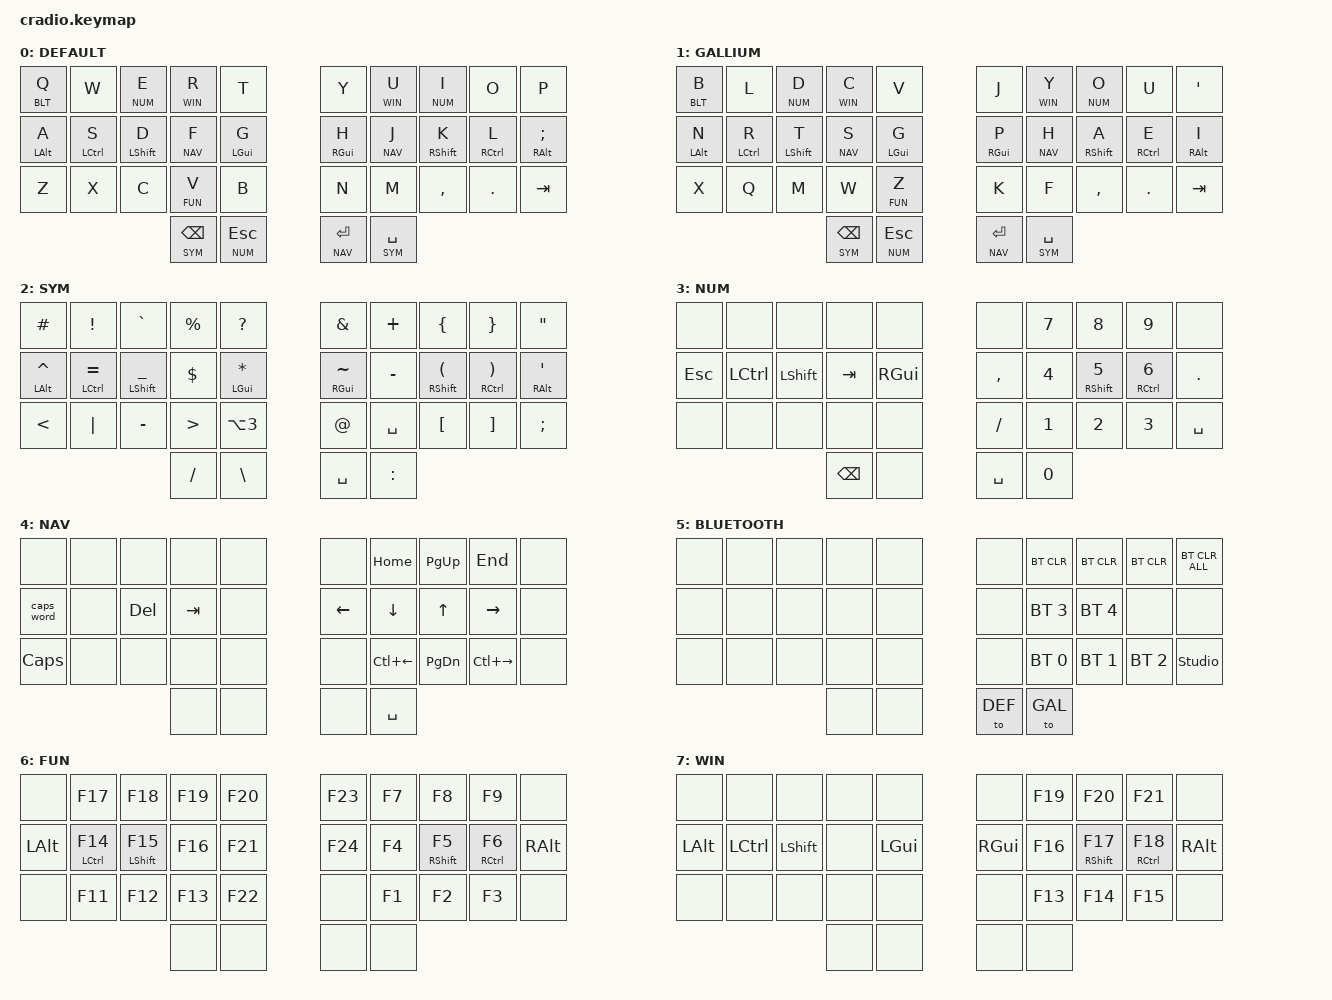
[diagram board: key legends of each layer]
// Copyright (c) 2022 The ZMK Contributors
// SPDX-License-Identifier: MIT

#define ZMK_POINTING_DEFAULT_MOVE_VAL 2500  // 600
#define ZMK_POINTING_DEFAULT_SCRL_VAL 20    // 10

#include <behaviors.dtsi>
#include "behaviors/character_map.dtsi"
#include "behaviors/send_string.dtsi"
#include "behaviors/report.dtsi"
#include <dt-bindings/zmk/bt.h>
#include <dt-bindings/zmk/keys.h>
#include <dt-bindings/zmk/outputs.h>
#include <dt-bindings/zmk/pointing.h>

#define DEF 0
#define GAL 1
#define SYM 2
#define NUM 3
#define NAV 4
#define BLT 5
#define FUN 6
#define WIN 7


// https://zmk.dev/docs/development/hardware-integration/soft-off-setup?advanced-methods=wakeup&kscan-type=dkscan
/ {
    keys {
        compatible = "gpio-keys";
        soft_off_gpio_key: soft_off_gpio_key {
            gpios = <&gpio1 6 (GPIO_ACTIVE_LOW | GPIO_PULL_UP)>;
        };
    };
    wakeup_scan: wakeup_scan {
        compatible = "zmk,kscan-gpio-direct";
        input-keys = <&soft_off_gpio_key>;
        wakeup-source;
    };
    side_band_behavior_triggers: side_band_behavior_triggers {
        compatible = "zmk,kscan-sideband-behaviors";
        kscan = <&wakeup_scan>;
        auto-enable;
        wakeup-source;
    };
    soft_off_wakers {
        compatible = "zmk,soft-off-wakeup-sources";
        wakeup-sources = <&wakeup_scan>;
    };
};

&lt {
    flavor = "balanced";
    tapping-term-ms = <220>;
    quick-tap-ms = <210>;
};


/ {
    vbatt: vbatt {
        compatible = "zmk,battery-nrf-vddh";
    };
    chosen {
        zmk,charmap = &charmap_us;
        zmk,battery = &vbatt;
    };
    behaviors {
        ht: hold_tap {
            display-name = "hold_tap";
            compatible = "zmk,behavior-hold-tap";
            #binding-cells = <2>;
            flavor = "balanced";
            tapping-term-ms = <210>;
            quick-tap-ms = <210>;
            bindings = <&kp>, <&kp>;
        };

        mmv {
            acceleration-exponent = <1>;      // 1
            time-to-max-speed-ms = <300>;    // 40
            delay-ms = <0>;                   // 0
        };

        msc {
            acceleration-exponent = <0>;      // 0
            time-to-max-speed-ms = <40>;      // 500
            delay-ms = <0>;                   // 10
        };
    };


    keymap {
        compatible = "zmk,keymap";


        default_layer {
            display-name = "DEFAULT";
            bindings = <
//    ┌────────────┬────────────┬────────────┬─────────────┬────────────┐   ┌────────────┬────────────┬────────────┬────────────┬────────────┐
//    │  lt B< Q   │     W      │  lt NUM E  │  lt WIN R   │     T      │   │     Y      │  lt WIN U  │  lt NUM I  │     O      │     P      │
//    ├────────────┼────────────┼────────────┼─────────────┼────────────┤   ├────────────┼────────────┼────────────┼────────────┼────────────┤
//    │ &ht lalt A │ &ht lctl S │ &ht lsft D │  lt NAV F   │ &ht lgui G │   │ &ht rgui H │  lt NAV J  │ &ht rsft K │ &ht rctl L │ &ht ralt ; │
//    ├────────────┼────────────┼────────────┼─────────────┼────────────┤   ├────────────┼────────────┼────────────┼────────────┼────────────┤
//    │     Z      │     X      │     C      │  lt FUN V   │     B      │   │     N      │     M      │     ,      │     .      │    tab     │
//    └────────────┴────────────┴────────────┼─────────────┼────────────┤   ├────────────┼────────────┼────────────┴────────────┴────────────┘
//                                           │ lt SYM bspc │ lt NUM esc │   │ lt NAV ent │ lt SYM spc │
//                                           └─────────────┴────────────┘   └────────────┴────────────┘
  &lt BLT Q    &kp W         &lt NUM E      &lt WIN R      &kp T             &kp Y         &lt WIN U       &lt NUM I      &kp O         &kp P
  &ht LALT A   &ht LCTRL S   &ht LSHIFT D   &lt NAV F      &ht LGUI G        &ht RGUI H    &lt NAV J       &ht RSHIFT K   &ht RCTRL L   &ht RALT SEMI
  &kp Z        &kp X         &kp C          &lt FUN V      &kp B             &kp N         &kp M           &kp COMMA      &kp DOT       &kp TAB
                                            &lt SYM BSPC   &lt NUM ESC       &lt NAV RET   &lt SYM SPACE
            >;
        };




        gallium_layer {
            display-name = "GALLIUM";
            bindings = <
//    ┌────────────┬────────────┬────────────┬─────────────┬────────────┐   ┌────────────┬────────────┬────────────┬────────────┬────────────┐
//    │  lt B< B   │     L      │  lt NUM D  │  lt WIN C   │     V      │   │     J      │  lt WIN Y  │  lt NUM O  │     U      │     '      │
//    ├────────────┼────────────┼────────────┼─────────────┼────────────┤   ├────────────┼────────────┼────────────┼────────────┼────────────┤
//    │ &ht lalt N │ &ht lctl R │ &ht lsft T │  lt NAV S   │ &ht lgui G │   │ &ht rgui P │  lt NAV H  │ &ht rsft A │ &ht rctl E │ &ht ralt I │
//    ├────────────┼────────────┼────────────┼─────────────┼────────────┤   ├────────────┼────────────┼────────────┼────────────┼────────────┤
//    │     X      │     Q      │     M      │      W      │  lt FUN Z  │   │     K      │     F      │     ,      │     .      │    tab     │
//    └────────────┴────────────┴────────────┼─────────────┼────────────┤   ├────────────┼────────────┼────────────┴────────────┴────────────┘
//                                           │ lt SYM bspc │ lt NUM esc │   │ lt NAV ent │ lt SYM spc │
//                                           └─────────────┴────────────┘   └────────────┴────────────┘
  &lt BLT B    &kp L         &lt NUM D      &lt WIN C      &kp V             &kp J         &lt WIN Y       &lt NUM O      &kp U         &kp SQT
  &ht LALT N   &ht LCTRL R   &ht LSHIFT T   &lt NAV S      &ht LGUI G        &ht RGUI P    &lt NAV H       &ht RSHIFT A   &ht RCTRL E   &ht RALT I
  &kp X        &kp Q         &kp M          &kp W          &lt FUN Z         &kp K         &kp F           &kp COMMA      &kp DOT       &kp TAB
                                            &lt SYM BSPC   &lt NUM ESC       &lt NAV RET   &lt SYM SPACE
            >;
        };




        symbol_layer {
            display-name = "SYM";
            bindings = <
//    ┌────────────┬────────────┬────────────┬───┬────────────┐   ┌────────────┬─────┬────────────┬────────────┬────────────┐
//    │     #      │     !      │     `      │ % │     ?      │   │     &      │  +  │     {      │     }      │     "      │
//    ├────────────┼────────────┼────────────┼───┼────────────┤   ├────────────┼─────┼────────────┼────────────┼────────────┤
//    │ &ht lalt ^ │ &ht lctl = │ &ht lsft _ │ $ │ &ht lgui * │   │ &ht rgui ~ │  -  │ &ht rsft ( │ &ht rctl ) │ &ht ralt ' │
//    ├────────────┼────────────┼────────────┼───┼────────────┤   ├────────────┼─────┼────────────┼────────────┼────────────┤
//    │     <      │     |      │     -      │ > │  lalt(3)   │   │     @      │ spc │     [      │     ]      │     ;      │
//    └────────────┴────────────┴────────────┼───┼────────────┤   ├────────────┼─────┼────────────┴────────────┴────────────┘
//                                           │ / │     \      │   │    spc     │  :  │
//                                           └───┴────────────┘   └────────────┴─────┘
  &kp HASH         &kp EXCL          &kp GRAVE          &kp PERCENT   &kp QMARK            &kp AMPS         &kp PLUS    &kp LBRC          &kp RBRC         &kp DQT
  &ht LALT CARET   &ht LCTRL EQUAL   &ht LSHIFT UNDER   &kp DLLR      &ht LGUI ASTRK       &ht RGUI TILDE   &kp MINUS   &ht RSHIFT LPAR   &ht RCTRL RPAR   &ht RALT SQT
  &kp LT           &kp PIPE          &kp MINUS          &kp GT        &kp LA(N3)           &kp AT           &kp SPACE   &kp LBKT          &kp RBKT         &kp SEMI
                                                        &kp FSLH      &kp BSLH             &kp SPACE        &kp COLON
            >;
        };




        number_layer {
            display-name = "NUM";
            bindings = <
//    ┌─────┬──────┬──────┬──────┬──────┐   ┌─────┬───┬────────────┬────────────┬─────┐
//    │     │      │      │      │      │   │     │ 7 │     8      │     9      │     │
//    ├─────┼──────┼──────┼──────┼──────┤   ├─────┼───┼────────────┼────────────┼─────┤
//    │ esc │ lctl │ lsft │ tab  │ rgui │   │  ,  │ 4 │ &ht rsft 5 │ &ht rctl 6 │  .  │
//    ├─────┼──────┼──────┼──────┼──────┤   ├─────┼───┼────────────┼────────────┼─────┤
//    │     │      │      │      │      │   │  /  │ 1 │     2      │     3      │ spc │
//    └─────┴──────┴──────┼──────┼──────┤   ├─────┼───┼────────────┴────────────┴─────┘
//                        │ bspc │      │   │ spc │ 0 │
//                        └──────┴──────┘   └─────┴───┘
  &none     &none       &none        &none      &none          &none       &kp N7   &kp N8          &kp N9         &none
  &kp ESC   &kp LCTRL   &kp LSHIFT   &kp TAB    &kp RGUI       &kp COMMA   &kp N4   &ht RSHIFT N5   &ht RCTRL N6   &kp DOT
  &none     &none       &none        &none      &none          &kp FSLH    &kp N1   &kp N2          &kp N3         &kp SPACE
                                     &kp BSPC   &none          &kp SPACE   &kp N0
            >;
        };



        nav_layer {
            display-name = "NAV";
            bindings = <
//    ┌───────┬─────┬─────┬─────┬─────┐   ┌──────┬────────────┬──────┬────────────┬─────┐
//    │       │     │     │     │     │   │      │    home    │ pgup │    end     │     │
//    ├───────┼─────┼─────┼─────┼─────┤   ├──────┼────────────┼──────┼────────────┼─────┤
//    │ capsw │     │ del │ tab │     │   │ left │    down    │  up  │    rght    │     │
//    ├───────┼─────┼─────┼─────┼─────┤   ├──────┼────────────┼──────┼────────────┼─────┤
//    │ caps  │     │     │     │     │   │      │ lctl(left) │ pgdn │ lctl(rght) │     │
//    └───────┴─────┴─────┼─────┼─────┤   ├──────┼────────────┼──────┴────────────┴─────┘
//                        │     │     │   │      │    spc     │
//                        └─────┴─────┘   └──────┴────────────┘
  &none        &none   &none     &none     &none       &none      &kp HOME       &kp PG_UP   &kp END         &none
  &caps_word   &none   &kp DEL   &kp TAB   &none       &kp LEFT   &kp DOWN       &kp UP      &kp RIGHT       &none
  &kp CAPS     &none   &none     &none     &none       &none      &kp LC(LEFT)   &kp PG_DN   &kp LC(RIGHT)   &none
                                 &none     &none       &none      &kp SPACE
            >;
        };



        bluetooth_layer {
            display-name = "BLUETOOTH";
            bindings = <
//    ┌─────┬─────┬─────┬─────┬─────┐   ┌────────┬──────────┬──────────┬──────────┬────────────────┐
//    │     │     │     │     │     │   │        │  bt_clr  │  bt_clr  │  bt_clr  │   bt_clr_ALL   │
//    ├─────┼─────┼─────┼─────┼─────┤   ├────────┼──────────┼──────────┼──────────┼────────────────┤
//    │     │     │     │     │     │   │        │ bt_sel 3 │ bt_sel 4 │          │                │
//    ├─────┼─────┼─────┼─────┼─────┤   ├────────┼──────────┼──────────┼──────────┼────────────────┤
//    │     │     │     │     │     │   │        │ bt_sel 0 │ bt_sel 1 │ bt_sel 2 │ &studio_unlock │
//    └─────┴─────┴─────┼─────┼─────┤   ├────────┼──────────┼──────────┴──────────┴────────────────┘
//                      │     │     │   │ to DEF │  to GAL  │
//                      └─────┴─────┘   └────────┴──────────┘
  &none   &none   &none   &none   &none       &none     &bt BT_CLR     &bt BT_CLR     &bt BT_CLR     &bt BT_CLR_ALL
  &none   &none   &none   &none   &none       &none     &bt BT_SEL 3   &bt BT_SEL 4   &none          &none
  &none   &none   &none   &none   &none       &none     &bt BT_SEL 0   &bt BT_SEL 1   &bt BT_SEL 2   &studio_unlock
                          &none   &none       &to DEF   &to GAL
            >;
        };




        fun_layer {
            display-name = "FUN";
            bindings = <
//    ┌──────┬──────────────┬──────────────┬─────┬─────┐   ┌─────┬─────┬─────────────┬─────────────┬──────┐
//    │      │     f17      │     f18      │ f19 │ f20 │   │ f23 │ f7  │     f8      │     f9      │      │
//    ├──────┼──────────────┼──────────────┼─────┼─────┤   ├─────┼─────┼─────────────┼─────────────┼──────┤
//    │ lalt │ &ht lctl f14 │ &ht lsft f15 │ f16 │ f21 │   │ f24 │ f4  │ &ht rsft f5 │ &ht rctl f6 │ ralt │
//    ├──────┼──────────────┼──────────────┼─────┼─────┤   ├─────┼─────┼─────────────┼─────────────┼──────┤
//    │      │     f11      │     f12      │ f13 │ f22 │   │     │ f1  │     f2      │     f3      │      │
//    └──────┴──────────────┴──────────────┼─────┼─────┤   ├─────┼─────┼─────────────┴─────────────┴──────┘
//                                         │     │     │   │     │     │
//                                         └─────┴─────┘   └─────┴─────┘
  &none      &kp F17         &kp F18          &kp F19   &kp F20       &kp F23   &kp F7   &kp F8          &kp F9         &none
  &kp LALT   &ht LCTRL F14   &ht LSHIFT F15   &kp F16   &kp F21       &kp F24   &kp F4   &ht RSHIFT F5   &ht RCTRL F6   &kp RALT
  &none      &kp F11         &kp F12          &kp F13   &kp F22       &none     &kp F1   &kp F2          &kp F3         &none
                                              &none     &none         &none     &none
            >;
        };




        win_layer {
            display-name = "WIN";
            bindings = <
//    ┌──────┬──────┬──────┬─────┬──────┐   ┌──────┬─────┬──────────────┬──────────────┬──────┐
//    │      │      │      │     │      │   │      │ f19 │     f20      │     f21      │      │
//    ├──────┼──────┼──────┼─────┼──────┤   ├──────┼─────┼──────────────┼──────────────┼──────┤
//    │ lalt │ lctl │ lsft │     │ lgui │   │ rgui │ f16 │ &ht rsft f17 │ &ht rctl f18 │ ralt │
//    ├──────┼──────┼──────┼─────┼──────┤   ├──────┼─────┼──────────────┼──────────────┼──────┤
//    │      │      │      │     │      │   │      │ f13 │     f14      │     f15      │      │
//    └──────┴──────┴──────┼─────┼──────┤   ├──────┼─────┼──────────────┴──────────────┴──────┘
//                         │     │      │   │      │     │
//                         └─────┴──────┘   └──────┴─────┘
  &none      &none       &none        &none   &none          &none      &kp F19   &kp F20          &kp F21         &none
  &kp LALT   &kp LCTRL   &kp LSHIFT   &none   &kp LGUI       &kp RGUI   &kp F16   &ht RSHIFT F17   &ht RCTRL F18   &kp RALT
  &none      &none       &none        &none   &none          &none      &kp F13   &kp F14          &kp F15         &none
                                      &none   &none          &none      &none
            >;
        };


    };
};
